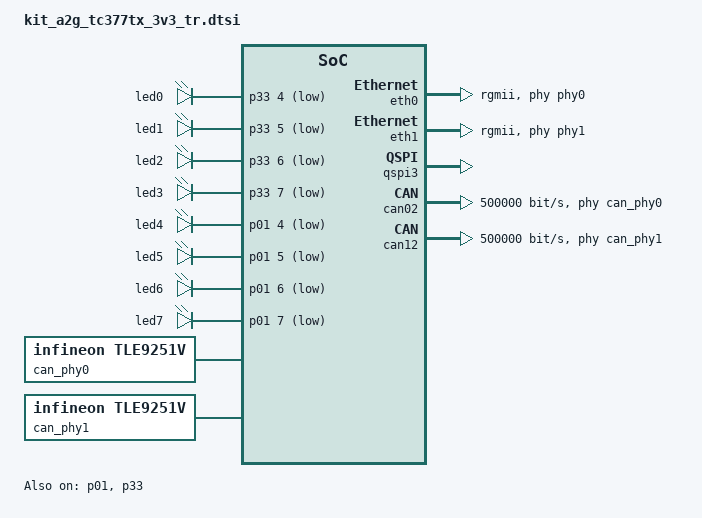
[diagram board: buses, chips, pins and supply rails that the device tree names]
/*
 * Copyright (c) 2024 Infineon Technologies AG
 *
 * SPDX-License-Identifier: Apache-2.0
 */
#include "kit_a2g_tc377tx_3v3_tr-pinctrl.dtsi"

/ {
	leds: leds {
		compatible = "gpio-leds";
		led0: led_0 {
			gpios = <&p33 4 GPIO_ACTIVE_LOW>;
		};
		led1: led_1 {
			gpios = <&p33 5 GPIO_ACTIVE_LOW>;
		};
		led2: led_2 {
			gpios = <&p33 6 GPIO_ACTIVE_LOW>;
		};
		led3: led_3 {
			gpios = <&p33 7 GPIO_ACTIVE_LOW>;
		};
		led4: led_4 {
			gpios = <&p01 4 GPIO_ACTIVE_LOW>;
		};
		led5: led_5 {
			gpios = <&p01 5 GPIO_ACTIVE_LOW>;
		};
		led6: led_6 {
			gpios = <&p01 6 GPIO_ACTIVE_LOW>;
		};
		led7: led_7 {
			gpios = <&p01 7 GPIO_ACTIVE_LOW>;
		};
	};

	aliases {
		led0 = &led0;
	};

	can_phy0: can-phy0 {
		compatible = "infineon,tle9251v", "can-transceiver-gpio";
		max-bitrate = <5000000>;
		#phy-cells = <0>;
	};

	can_phy1: can-phy1 {
		compatible = "infineon,tle9251v", "can-transceiver-gpio";
		max-bitrate = <5000000>;
		#phy-cells = <0>;
	};
};

&fosc {
	clock-frequency = <DT_FREQ_M(20)>;
	status = "okay";
};

&p01 {
	status = "okay";
};

&p33 {
	status = "okay";
};

&asclin0 {
	compatible = "infineon,asclin-uart";
	pinctrl-0 = <&uart0_default>;
	pinctrl-names = "default";
};


&eth0 {
	pinctrl-0 = <&eth0_rgmii_default>;
	pinctrl-names = "default";
	phy-connection-type = "rgmii";
	phy-handle = <&phy0>;
};

&mdio0 {
	pinctrl-0 = <&eth0_mdio_default>;
	pinctrl-names = "default";

	phy0: ethernet-phy@1 {
		compatible = "ethernet-phy";
		reg = <1>;
		status = "disabled";
	};
};

&eth1 {
	pinctrl-0 = <&eth1_rgmii_default>;
	pinctrl-names = "default";
	phy-connection-type = "rgmii";
	phy-handle = <&phy1>;
};

&mdio1 {
	pinctrl-0 = <&eth1_mdio_default>;
	pinctrl-names = "default";

	phy1: ethernet-phy@1 {
		compatible = "ethernet-phy";
		reg = <1>;
		status = "disabled";
	};
};

qspi3: &qspi3 {
	pinctrl-0 = <&qspi3_pin>;
	pinctrl-names = "default";
	max_clock_frequency = <50000000>;
	status = "okay";
};

&can02 {
	bitrate = <500000>;
	bitrate-data = <2000000>;
	pinctrl-0 = <&can0_default>;
	pinctrl-names = "default";
	phys = <&can_phy0>;
};

&can12 {
	bitrate = <500000>;
	bitrate-data = <2000000>;
	pinctrl-0 = <&can1_default>;
	pinctrl-names = "default";
	phys = <&can_phy1>;
};
